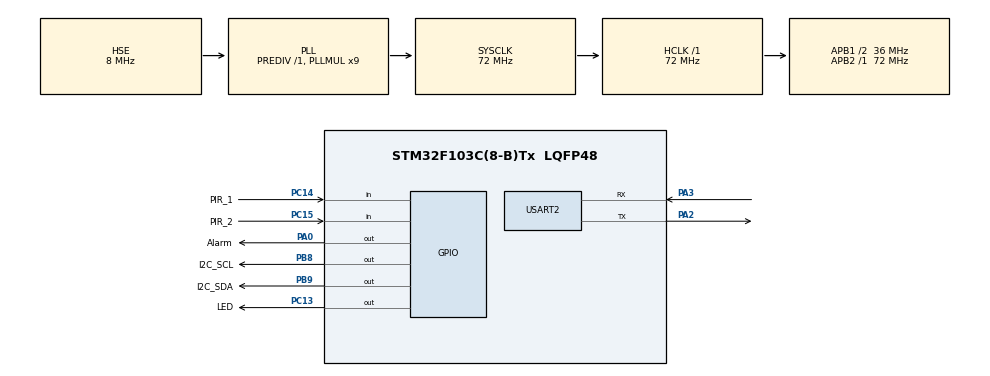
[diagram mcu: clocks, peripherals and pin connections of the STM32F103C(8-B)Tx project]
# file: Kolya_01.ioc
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Mcu.Family=STM32F1
Mcu.Name=STM32F103C(8-B)Tx
Mcu.Package=LQFP48
NVIC.PriorityGroup=NVIC_PRIORITYGROUP_4
PA0-WKUP.GPIO_Label=Alarm
PA0-WKUP.Signal=GPIO_Output
PA13.Mode=Serial_Wire
PA13.Signal=SYS_JTMS-SWDIO
PA14.Mode=Serial_Wire
PA14.Signal=SYS_JTCK-SWCLK
PA2.Mode=Asynchronous
PA2.Signal=USART2_TX
PA3.Mode=Asynchronous
PA3.Signal=USART2_RX
PB8.GPIO_Label=I2C_SCL
PB8.Signal=GPIO_Output
PB9.GPIO_Label=I2C_SDA
PB9.Signal=GPIO_Output
PC13-TAMPER-RTC.GPIO_Label=LED
PC13-TAMPER-RTC.Signal=GPIO_Output
PC14-OSC32_IN.GPIO_Label=PIR_1
PC14-OSC32_IN.Signal=GPIO_Input
PC15-OSC32_OUT.GPIO_Label=PIR_2
PC15-OSC32_OUT.Signal=GPIO_Input
PD0-OSC_IN.Mode=HSE-External-Clock-Source
PD0-OSC_IN.Signal=RCC_OSC_IN
PD1-OSC_OUT.Mode=HSE-External-Clock-Source
PD1-OSC_OUT.Signal=RCC_OSC_OUT
ProjectManager.HeapSize=0x200
ProjectManager.StackSize=0x400
ProjectManager.TargetToolchain=MDK-ARM V5.27
RCC.AHBFreq_Value=72000000
RCC.APB1CLKDivider=RCC_HCLK_DIV2
RCC.APB1Freq_Value=36000000
RCC.APB1TimFreq_Value=72000000
RCC.APB2Freq_Value=72000000
RCC.APB2TimFreq_Value=72000000
RCC.HCLKFreq_Value=72000000
RCC.PLLMUL=RCC_PLL_MUL9
RCC.PLLSourceVirtual=RCC_PLLSOURCE_HSE
RCC.SYSCLKFreq_VALUE=72000000
RCC.SYSCLKSource=RCC_SYSCLKSOURCE_PLLCLK
RCC.USBFreq_Value=72000000
USART2.VirtualMode=VM_ASYNC
board=custom

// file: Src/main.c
/* USER CODE BEGIN Header */
/**
  ******************************************************************************
  * @file           : main.c
  * @brief          : Main program body
  ******************************************************************************
  * @attention
  *
  * <h2><center>&copy; Copyright (c) 2020 STMicroelectronics.
  * All rights reserved.</center></h2>
  *
  * This software component is licensed by ST under BSD 3-Clause license,
  * the "License"; You may not use this file except in compliance with the
  * License. You may obtain a copy of the License at:
  *                        opensource.org/licenses/BSD-3-Clause
  *
  ******************************************************************************
  */
/* USER CODE END Header */

#include "main.h"

/* USER CODE BEGIN Includes */
#include <string.h>
#include <stdio.h>
#include "I2C.h"
/* USER CODE END Includes */

/* USER CODE BEGIN PD */
__STATIC_INLINE void Delay_us_01 (uint32_t __IO us) //Функция задержки в микросекундах us
{
us *=(SystemCoreClock/10000000)/1;
	while(us--);
}
/* USER CODE END PD */

/* USER CODE BEGIN PM */
//static void I2C_ClearBusyFlagErratum(I2C_HandleTypeDef *hi2c, uint32_t timeout);
//static uint8_t wait_for_gpio_state_timeout(GPIO_TypeDef *port, uint16_t pin, GPIO_PinState state, uint32_t timeout);
/* USER CODE END PM */

UART_HandleTypeDef huart2;

/* USER CODE BEGIN PV */

static const uint8_t REG_TEMP = 0x07;
/* USER CODE END PV */

void SystemClock_Config(void);
static void MX_GPIO_Init(void);
static void MX_USART2_UART_Init(void);
/* USER CODE BEGIN PFP */
  HAL_StatusTypeDef ret;
  uint8_t buf[128];
  uint8_t RX_buf[12];
  uint8_t TX_buf[12];
  int16_t val, cou_i2c = 0;
  float temp_c;
/* USER CODE END PFP */

/* USER CODE BEGIN 0 */
//=========================================================================================
//   Запись uint16_t во внешнюю еепром (FRAM FM24CL64) или любой другой 24LC памяти,
//	 две ячейки,  указывается адрес первой ячейки, следующая идет adr++
//=========================================================================================
uint8_t Write_Byte(uint8_t addr, uint8_t reg, uint8_t data){
i2c_start_cond ();
RX_buf[5] = i2c_send_byte(addr << 1);	//(I2C_ADDR << 1)
RX_buf[6] = i2c_send_byte(reg);
RX_buf[7] = i2c_send_byte(data);
i2c_stop_cond();
}
//=========================================================================================
//   Считывание uint16_t из внешней еепром (FRAM FM24CL64) или любой другой 24LC памяти,
//	 две ячейки,  указывается адрес первой ячейки, следующая идет adr++
//=========================================================================================
uint16_t Read_Byte(uint8_t addr, uint8_t reg){
uint16_t dat;
i2c_start_cond ();
RX_buf[0] = i2c_send_byte(addr<<1); //(I2C_ADDR << 1)
RX_buf[1] = i2c_send_byte(reg);
i2c_restart_cond ();
RX_buf[2] = i2c_send_byte(addr + 1);//((I2C_ADDR << 1) + 1)
dat =  i2c_get_byte(0);
i2c_stop_cond();
return dat;
}
uint8_t processing_func(uint8_t data){
	 uint8_t i;
 uint8_t ack=1;           //АСК, если АСК=1 – произошла ошибка
uint16_t SDA;
	for (i=0;i<8;i++)
    {
        if (data & 0x80)
				{
				SDA_in(); // лог.1
        }
				else
				{
				SDA_out(); // Выставить бит на SDA (лог.0
				}
        Delay_us_01(1);
        SCL_in();   // Записать его импульсом на SCL       // отпустить SCL (лог.1)
        Delay_us_01(1);
        SCL_out(); // притянуть SCL (лог.0)
        data<<=1; // сдвигаем на 1 бит влево

    }
    SDA_in(); // отпустить SDA (лог.1), чтобы ведомое устройство смогло сгенерировать ACK
     Delay_us_01(1);
    SCL_in(); // отпустить SCL (лог.1), чтобы ведомое устройство передало ACK
     Delay_us_01(1);
    SDA=SDA_I;
		if (SDA==0x00) ack=1; else ack=0;    // Считать ACK

    SCL_out(); // притянуть SCL (лог.0)  // приём ACK завершён

    return ack; // вернуть ACK (0) или NACK (1)
}

/* USER CODE END 0 */

int main(void)
{

  /* MCU Configuration--------------------------------------------------------*/

  /* Reset of all peripherals, Initializes the Flash interface and the Systick. */
  HAL_Init();

  /* Configure the system clock */
  SystemClock_Config();

  /* Initialize all configured peripherals */
  MX_GPIO_Init();
  MX_USART2_UART_Init();
  /* USER CODE BEGIN 2 */

HAL_NVIC_SetPriority(I2C1_EV_IRQn, 0, 0);

HAL_NVIC_EnableIRQ(I2C1_EV_IRQn);

HAL_NVIC_SetPriority(I2C1_ER_IRQn, 0, 0);

HAL_NVIC_EnableIRQ(I2C1_ER_IRQn);

  /* USER CODE END 2 */

  /* Infinite loop */
  /* USER CODE BEGIN WHILE */

  while (1)
  {
	//	Write_Byte(0,10);
		for (int ii = 0; ii < 127; ii++){
//	buf[ii] = Write_Byte(ii, 0, ii);
//	buf[ii] = Read_Byte(AddrSlave, 7);
		i2c_start_cond ();
		Delay_us_01(20);
		buf[ii] = processing_func(ii); //(I2C_ADDR << 1) + 0x80
		i2c_stop_cond ();
			if(buf[ii] == 1){
				__NOP();}
		HAL_Delay(150);}
    /* USER CODE END WHILE */

}
}
void SystemClock_Config(void)
{
  RCC_OscInitTypeDef RCC_OscInitStruct = {0};
  RCC_ClkInitTypeDef RCC_ClkInitStruct = {0};

  /** Initializes the CPU, AHB and APB busses clocks
  */
  RCC_OscInitStruct.OscillatorType = RCC_OSCILLATORTYPE_HSE;
  RCC_OscInitStruct.HSEState = RCC_HSE_BYPASS;
  RCC_OscInitStruct.HSEPredivValue = RCC_HSE_PREDIV_DIV1;
  RCC_OscInitStruct.HSIState = RCC_HSI_ON;
  RCC_OscInitStruct.PLL.PLLState = RCC_PLL_ON;
  RCC_OscInitStruct.PLL.PLLSource = RCC_PLLSOURCE_HSE;
  RCC_OscInitStruct.PLL.PLLMUL = RCC_PLL_MUL9;
  if (HAL_RCC_OscConfig(&RCC_OscInitStruct) != HAL_OK)
  {
    Error_Handler();
  }
  /** Initializes the CPU, AHB and APB busses clocks
  */
  RCC_ClkInitStruct.ClockType = RCC_CLOCKTYPE_HCLK|RCC_CLOCKTYPE_SYSCLK
                              |RCC_CLOCKTYPE_PCLK1|RCC_CLOCKTYPE_PCLK2;
  RCC_ClkInitStruct.SYSCLKSource = RCC_SYSCLKSOURCE_PLLCLK;
  RCC_ClkInitStruct.AHBCLKDivider = RCC_SYSCLK_DIV1;
  RCC_ClkInitStruct.APB1CLKDivider = RCC_HCLK_DIV2;
  RCC_ClkInitStruct.APB2CLKDivider = RCC_HCLK_DIV1;

  if (HAL_RCC_ClockConfig(&RCC_ClkInitStruct, FLASH_LATENCY_2) != HAL_OK)
  {
    Error_Handler();
  }
}

static void MX_USART2_UART_Init(void)
{

  huart2.Instance = USART2;
  huart2.Init.BaudRate = 115200;
  huart2.Init.WordLength = UART_WORDLENGTH_8B;
  huart2.Init.StopBits = UART_STOPBITS_1;
  huart2.Init.Parity = UART_PARITY_NONE;
  huart2.Init.Mode = UART_MODE_TX_RX;
  huart2.Init.HwFlowCtl = UART_HWCONTROL_NONE;
  huart2.Init.OverSampling = UART_OVERSAMPLING_16;
  if (HAL_UART_Init(&huart2) != HAL_OK)
  {
    Error_Handler();
  }

}

static void MX_GPIO_Init(void)
{
  GPIO_InitTypeDef GPIO_InitStruct = {0};

  /* GPIO Ports Clock Enable */
  __HAL_RCC_GPIOC_CLK_ENABLE();
  __HAL_RCC_GPIOD_CLK_ENABLE();
  __HAL_RCC_GPIOA_CLK_ENABLE();
  __HAL_RCC_GPIOB_CLK_ENABLE();

  /*Configure GPIO pin Output Level */
  HAL_GPIO_WritePin(LED_GPIO_Port, LED_Pin, GPIO_PIN_RESET);

  /*Configure GPIO pin Output Level */
  HAL_GPIO_WritePin(Alarm_GPIO_Port, Alarm_Pin, GPIO_PIN_RESET);

  /*Configure GPIO pin Output Level */
  HAL_GPIO_WritePin(GPIOB, GPIO_PIN_8|GPIO_PIN_9, GPIO_PIN_RESET);

  /*Configure GPIO pin : LED_Pin */
  GPIO_InitStruct.Pin = LED_Pin;
  GPIO_InitStruct.Mode = GPIO_MODE_OUTPUT_PP;
  GPIO_InitStruct.Pull = GPIO_NOPULL;
  GPIO_InitStruct.Speed = GPIO_SPEED_FREQ_LOW;
  HAL_GPIO_Init(LED_GPIO_Port, &GPIO_InitStruct);

  /*Configure GPIO pins : PIR_1_Pin PIR_2_Pin */
  GPIO_InitStruct.Pin = PIR_1_Pin|PIR_2_Pin;
  GPIO_InitStruct.Mode = GPIO_MODE_INPUT;
  GPIO_InitStruct.Pull = GPIO_NOPULL;
  HAL_GPIO_Init(GPIOC, &GPIO_InitStruct);

  /*Configure GPIO pin : Alarm_Pin */
  GPIO_InitStruct.Pin = Alarm_Pin;
  GPIO_InitStruct.Mode = GPIO_MODE_OUTPUT_PP;
  GPIO_InitStruct.Pull = GPIO_NOPULL;
  GPIO_InitStruct.Speed = GPIO_SPEED_FREQ_LOW;
  HAL_GPIO_Init(Alarm_GPIO_Port, &GPIO_InitStruct);

  /*Configure GPIO pins : PB8 PB9 */
  GPIO_InitStruct.Pin = GPIO_PIN_8|GPIO_PIN_9;
  GPIO_InitStruct.Mode = GPIO_MODE_OUTPUT_PP;
  GPIO_InitStruct.Pull = GPIO_NOPULL;
  GPIO_InitStruct.Speed = GPIO_SPEED_FREQ_LOW;
  HAL_GPIO_Init(GPIOB, &GPIO_InitStruct);

}

void Error_Handler(void)
{
}

/************************ (C) COPYRIGHT STMicroelectronics *****END OF FILE****/
